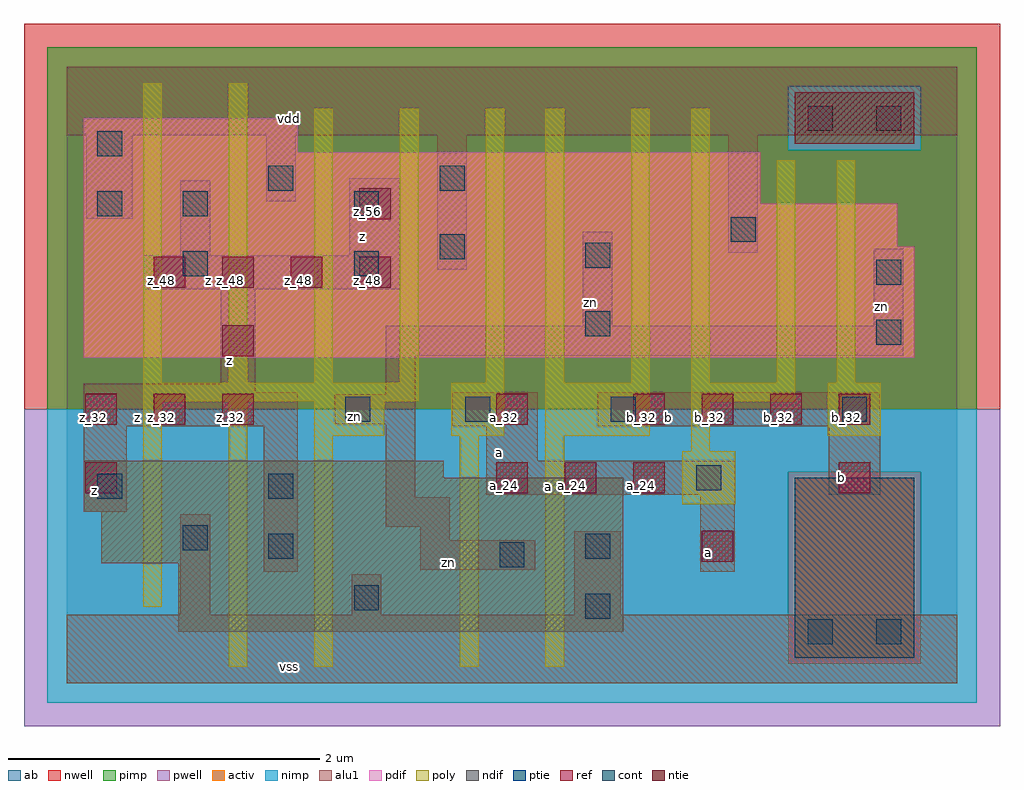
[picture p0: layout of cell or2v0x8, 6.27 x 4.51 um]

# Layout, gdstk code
import gdstk
lib = gdstk.Library(unit=1e-6, precision=2.5e-09)
def R(c, l, rs):  # rectangles x0, y0, x1, y1
    for r in rs: c.add(gdstk.rectangle(r[:2], r[2:], *l))
def A(c, l, x, y, w, h, nx, ny, dx, dy):  # array of equal rectangles
    R(c, l, [(x+i*dx, y+j*dy, x+i*dx+w, y+j*dy+h) for i in range(nx) for j in range(ny)])
ndif = (3, 0)
pdif = (4, 0)
ntie = (5, 0)
ptie = (6, 0)
ref = (24, 0)
cont = (25, 0)
pwell = (41, 0)
nwell = (42, 0)
activ = (43, 0)
pimp = (44, 0)
nimp = (45, 0)
poly = (46, 0)
alu1 = (49, 0)
ab = (63, 0)

or2v0x8 = lib.new_cell('or2v0x8')
R(or2v0x8, ndif, [(0.715,0.33,3.575,0.77), (0.22,0.77,3.575,1.1), (0.11,1.1,3.575,1.32), (0.11,1.32,2.42,1.43)])
R(or2v0x8, pdif, [(0.11,2.09,5.445,2.805), (0.11,2.805,5.335,3.08), (0.11,3.08,4.455,3.41), (0.11,3.41,1.485,3.63)])
R(or2v0x8, ntie, [(4.675,3.465,5.445,3.795)])
R(or2v0x8, ptie, [(4.675,0.165,5.445,1.32)])
A(or2v0x8, ref, 2.76, 1.22, 0.2, 0.2, 3, 1, 0.44, 0)
A(or2v0x8, ref, 0.12, 1.66, 0.2, 0.2, 3, 1, 0.44, 0)
A(or2v0x8, ref, 3.64, 1.66, 0.2, 0.2, 4, 1, 0.44, 0)
A(or2v0x8, ref, 0.56, 2.54, 0.2, 0.2, 4, 1, 0.44, 0)
R(or2v0x8, ref, [(4.08,0.78,4.28,0.98), (0.12,1.22,0.32,1.42), (4.96,1.22,5.16,1.42), (2.76,1.66,2.96,1.86), (1,2.1,1.2,2.3), (1.88,2.98,2.08,3.18)])
R(or2v0x8, cont, [(4.76,0.25,4.92,0.41), (5.2,0.25,5.36,0.41), (3.33,0.415,3.49,0.575), (1.845,0.47,2.005,0.63), (2.78,0.745,2.94,0.905), (1.295,0.8,1.455,0.96), (3.33,0.8,3.49,0.96), (0.745,0.855,0.905,1.015), (0.195,1.185,0.355,1.345), (1.295,1.185,1.455,1.345), (4.045,1.24,4.205,1.4), (1.79,1.68,1.95,1.84), (2.56,1.68,2.72,1.84), (3.495,1.68,3.655,1.84), (4.98,1.68,5.14,1.84), (5.2,2.175,5.36,2.335), (3.33,2.23,3.49,2.39), (5.2,2.56,5.36,2.72), (0.745,2.615,0.905,2.775), (1.845,2.615,2.005,2.775), (3.33,2.67,3.49,2.83), (2.395,2.725,2.555,2.885), (4.265,2.835,4.425,2.995), (0.195,3,0.355,3.16), (0.745,3,0.905,3.16), (1.845,3,2.005,3.16), (1.295,3.165,1.455,3.325), (2.395,3.165,2.555,3.325), (0.195,3.385,0.355,3.545), (4.76,3.55,4.92,3.71), (5.2,3.55,5.36,3.71)])
R(or2v0x8, pwell, [(-0.275,-0.275,5.995,1.76)])
R(or2v0x8, nwell, [(-0.275,1.76,5.995,4.235)])
R(or2v0x8, activ, [(4.675,0.165,5.445,1.32), (0.715,0.33,3.575,0.77), (0.22,0.77,3.575,1.1), (0.11,1.1,3.575,1.32), (0.11,1.32,2.42,1.43), (0.11,2.09,5.445,2.805), (0.11,2.805,5.335,3.08), (0.11,3.08,4.455,3.41), (0.11,3.41,1.485,3.63), (4.675,3.465,5.445,3.795)])
R(or2v0x8, pimp, [(4.635,0.125,5.485,1.36), (-0.125,1.76,5.845,3.425), (-0.125,3.425,4.635,3.835), (5.485,3.425,5.845,3.835), (-0.125,3.835,5.845,4.085)])
R(or2v0x8, nimp, [(-0.125,-0.125,5.845,0.125), (-0.125,0.125,4.635,1.36), (5.485,0.125,5.845,1.36), (-0.125,1.36,5.845,1.76), (4.635,3.425,5.485,3.835)])
A(or2v0x8, poly, 1.59, 1.93, 0.12, 1.76, 3, 1, 0.55, 0)
R(or2v0x8, poly, [(1.04,0.105,1.16,1.81), (1.59,0.105,1.71,1.59), (2.525,0.105,2.645,1.59), (3.075,0.105,3.195,1.59), (0.49,0.49,0.61,1.81), (3.955,1.15,4.295,1.49), (4.01,1.49,4.13,1.81), (1.59,1.59,2.04,1.81), (2.47,1.59,2.81,1.93), (3.075,1.59,3.745,1.93), (4.89,1.59,5.23,1.93), (0.49,1.81,2.26,1.93), (4.01,1.81,4.68,1.93), (0.49,1.93,0.61,3.855), (1.04,1.93,1.16,3.855), (3.075,1.93,3.195,3.69), (3.625,1.93,3.745,3.69), (4.01,1.93,4.13,3.69), (4.56,1.93,4.68,3.36), (4.945,1.93,5.065,3.36)])
R(or2v0x8, alu1, [(0,0,5.72,0.44), (0.73,0.44,0.92,1.085), (1.83,0.44,2.02,0.7), (3.26,0.44,3.56,0.975), (1.265,0.715,1.485,1.65), (4.07,0.715,4.29,1.21), (2.27,0.73,3.01,0.92), (2.27,0.92,2.46,1.005), (2.05,1.005,2.46,1.195), (0.11,1.1,0.385,1.65), (2.05,1.195,2.24,1.665), (2.695,1.21,4.29,1.43), (4.895,1.21,5.225,1.65), (2.695,1.43,3.025,1.65), (0.11,1.65,1.485,1.87), (2.475,1.65,3.025,1.87), (3.41,1.65,5.225,1.87), (1.72,1.665,2.24,1.855), (2.05,1.855,2.24,2.105), (0.11,1.87,1.21,1.925), (0.99,1.925,1.21,2.53), (2.05,2.105,5.375,2.295), (3.315,2.295,3.505,2.9), (5.185,2.295,5.375,2.79), (0.495,2.53,2.145,2.75), (2.38,2.655,2.57,3.52), (0.73,2.75,0.92,3.23), (1.815,2.75,2.145,3.245), (4.25,2.765,4.44,3.52), (0.125,2.985,0.425,3.52), (1.28,3.095,1.47,3.52), (0,3.52,5.72,3.96)])
R(or2v0x8, ab, [(0,0,5.72,3.96)])
or2v0x8.add(gdstk.Label('vss', (1.43,0.11), layer=49, texttype=0))
or2v0x8.add(gdstk.Label('a', (4.125,0.8375), layer=49, texttype=0))
or2v0x8.add(gdstk.Label('zn', (2.455,0.7775), layer=49, texttype=0))
or2v0x8.add(gdstk.Label('b', (4.9775,1.32), layer=49, texttype=0))
or2v0x8.add(gdstk.Label('a', (3.0925,1.265), layer=49, texttype=0))
or2v0x8.add(gdstk.Label('a', (2.7775,1.485), layer=49, texttype=0))
or2v0x8.add(gdstk.Label('b', (3.8625,1.705), layer=49, texttype=0))
or2v0x8.add(gdstk.Label('z', (0.1775,1.2375), layer=49, texttype=0))
or2v0x8.add(gdstk.Label('zn', (1.85,1.7125), layer=49, texttype=0))
or2v0x8.add(gdstk.Label('z', (0.4525,1.705), layer=49, texttype=0))
or2v0x8.add(gdstk.Label('zn', (5.2325,2.4175), layer=49, texttype=0))
or2v0x8.add(gdstk.Label('zn', (3.3625,2.445), layer=49, texttype=0))
or2v0x8.add(gdstk.Label('z', (1.045,2.075), layer=49, texttype=0))
or2v0x8.add(gdstk.Label('z', (0.9075,2.585), layer=49, texttype=0))
or2v0x8.add(gdstk.Label('z', (1.8975,2.8725), layer=49, texttype=0))
or2v0x8.add(gdstk.Label('vdd', (1.43,3.63), layer=49, texttype=0))
or2v0x8.add(gdstk.Label('z_32', (0.61,1.71), layer=24, texttype=0))
or2v0x8.add(gdstk.Label('z_48', (0.61,2.59), layer=24, texttype=0))
or2v0x8.add(gdstk.Label('z_32', (1.05,1.71), layer=24, texttype=0))
or2v0x8.add(gdstk.Label('z_40', (1.05,2.15), layer=24, texttype=0))
or2v0x8.add(gdstk.Label('z_48', (1.05,2.59), layer=24, texttype=0))
or2v0x8.add(gdstk.Label('z_48', (1.49,2.59), layer=24, texttype=0))
or2v0x8.add(gdstk.Label('z_48', (1.93,2.59), layer=24, texttype=0))
or2v0x8.add(gdstk.Label('z_56', (1.93,3.03), layer=24, texttype=0))
or2v0x8.add(gdstk.Label('z_24', (0.17,1.27), layer=24, texttype=0))
or2v0x8.add(gdstk.Label('z_32', (0.17,1.71), layer=24, texttype=0))
or2v0x8.add(gdstk.Label('a_24', (2.81,1.27), layer=24, texttype=0))
or2v0x8.add(gdstk.Label('a_32', (2.81,1.71), layer=24, texttype=0))
or2v0x8.add(gdstk.Label('a_24', (3.25,1.27), layer=24, texttype=0))
or2v0x8.add(gdstk.Label('a_24', (3.69,1.27), layer=24, texttype=0))
or2v0x8.add(gdstk.Label('b_32', (3.69,1.71), layer=24, texttype=0))
or2v0x8.add(gdstk.Label('a_16', (4.13,0.83), layer=24, texttype=0))
or2v0x8.add(gdstk.Label('b_32', (4.13,1.71), layer=24, texttype=0))
or2v0x8.add(gdstk.Label('b_32', (4.57,1.71), layer=24, texttype=0))
or2v0x8.add(gdstk.Label('b_24', (5.01,1.27), layer=24, texttype=0))
or2v0x8.add(gdstk.Label('b_32', (5.01,1.71), layer=24, texttype=0))

lib.write_gds('or2v0x8.gds')
